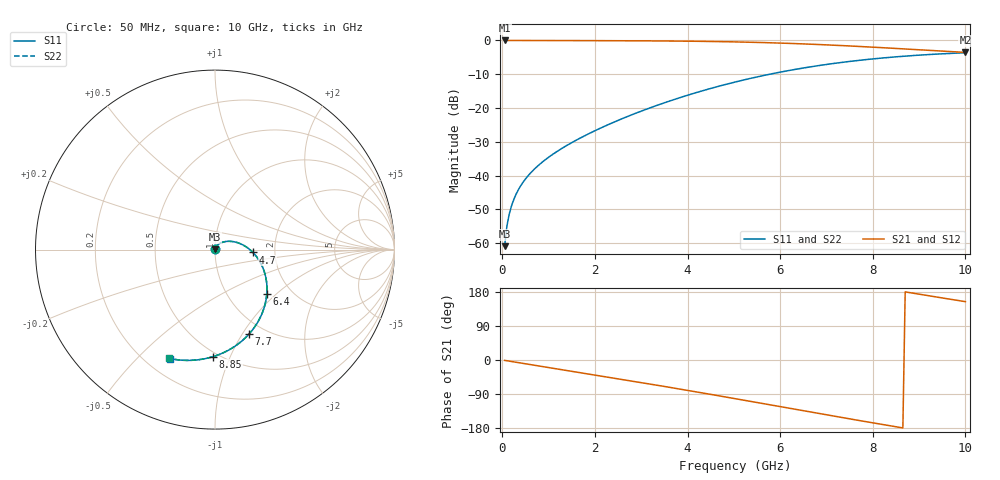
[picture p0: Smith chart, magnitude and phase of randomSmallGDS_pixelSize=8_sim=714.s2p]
! freq	dB(S11)	phase(S11)	dB(S12)	phase(S12)
!  dB(S21)	phase(S21)	dB(S22)	phase(S22)
!S-par simulation data
#  GHz  S  DB  R 50
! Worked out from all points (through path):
!   200 points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, 50 MHz to 10 GHz, reference 50 ohm
!   highest |S21| = 0.00 dB at 50 MHz (marker M1); lowest = -3.5 dB at 10 GHz (marker M2)
!   group delay of S21, straight-line fit = 58 ps
!   lowest |S11| = -60.9 dB at 50 MHz (marker M3), VSWR 1.00, Z = 50 + j0.0897 ohm
!   |S11| at or under -10 dB: start of sweep to 5.774 GHz
!   |S22| runs from -60.9 to -3.6 dB; largest |S21 - S12| = 0
!   S11 on the Smith chart (normalised r, x): 50 MHz: 1.00, +0.00; 4.7 GHz: 1.54, -0.05; 6.4 GHz: 1.51, -0.87; 7.7 GHz: 0.85, -1.07; 8.85 GHz: 0.47, -0.87; 10 GHz: 0.29, -0.63
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0.05  -60.91 84.9  -0.00 -1.0  -0.00 -1.0  -60.90 84.9
0.1  -54.91 85.5  -0.00 -2.0  -0.00 -2.0  -54.91 85.5
0.15  -51.41 84.9  -0.00 -3.0  -0.00 -3.0  -51.41 84.9
0.2  -48.93 84.1  -0.00 -4.0  -0.00 -4.0  -48.93 84.0
0.3  -45.45 82.2  -0.01 -5.9  -0.01 -5.9  -45.45 82.2
0.45  -41.94 79.5  -0.01 -8.9  -0.01 -8.9  -41.94 79.5
0.65  -38.67 76.0  -0.02 -12.8  -0.02 -12.8  -38.67 76.0
0.95  -35.08 70.7  -0.03 -18.7  -0.03 -18.7  -35.09 70.7
1.75  -28.42 55.8  -0.05 -34.5  -0.05 -34.5  -28.42 55.8
2.6  -23.09 39.1  -0.08 -51.4  -0.08 -51.4  -23.09 39.1
3.4  -18.93 22.9  -0.14 -67.7  -0.14 -67.7  -18.93 22.8
4.05  -16.01 9.4  -0.22 -81.2  -0.22 -81.2  -16.01 9.3
4.7  -13.46 -4.3  -0.34 -95.0  -0.34 -95.0  -13.46 -4.4
5.05  -12.23 -11.8  -0.43 -102.5  -0.43 -102.5  -12.23 -11.9
5.7  -10.21 -25.7  -0.65 -116.5  -0.65 -116.5  -10.21 -25.8
6.4  -8.39 -40.7  -0.96 -131.7  -0.96 -131.7  -8.39 -40.8
6.7  -7.71 -47.1  -1.13 -138.2  -1.13 -138.2  -7.72 -47.2
7.2  -6.73 -57.7  -1.43 -148.9  -1.43 -148.9  -6.73 -57.8
7.7  -5.89 -68.1  -1.77 -159.6  -1.77 -159.6  -5.90 -68.1
8.35  -5.02 -81.2  -2.25 -173.1  -2.25 -173.1  -5.02 -81.3
8.85  -4.49 -91.0  -2.64 176.7  -2.64 176.7  -4.49 -91.1
10  -3.64 -112.6  -3.53 154.0  -3.53 154.0  -3.64 -112.7
